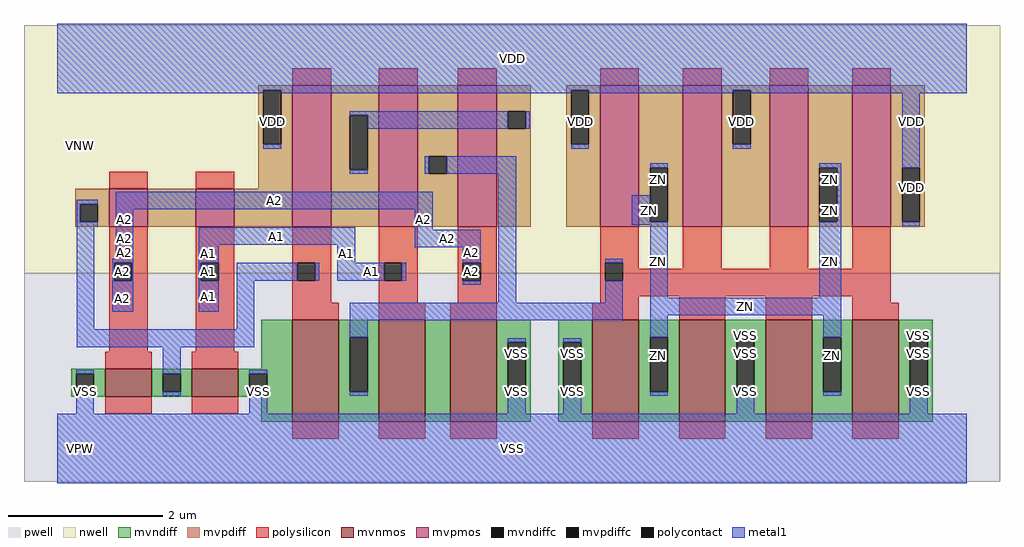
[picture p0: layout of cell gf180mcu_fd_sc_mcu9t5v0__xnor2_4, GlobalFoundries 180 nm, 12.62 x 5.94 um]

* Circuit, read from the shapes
.subckt gf180mcu_fd_sc_mcu9t5v0__xnor2_4 A1 A2 ZN VDD VNW VPW VSS
XM1 n1 A2 VSS VPW nfet_06v0 w=0.36u l=0.6u
XM2 VSS A1 n1 VPW nfet_06v0 w=0.36u l=0.6u
XM3 n2 n1 VSS VPW nfet_06v0 w=1.32u l=0.6u
XM4 n3 A1 n2 VPW nfet_06v0 w=1.32u l=0.6u
XM5 VSS A2 n3 VPW nfet_06v0 w=1.32u l=0.6u
XM6 ZN n2 VSS VPW nfet_06v0 w=1.32u l=0.6u m=4
XM7 n4 A2 n1 VNW pfet_06v0 w=0.495u l=0.5u
XM8 VDD A1 n4 VNW pfet_06v0 w=0.495u l=0.5u
XM9 n5 n1 VDD VNW pfet_06v0 w=1.83u l=0.5u
XM10 n2 A1 n5 VNW pfet_06v0 w=1.83u l=0.5u
XM11 n5 A2 n2 VNW pfet_06v0 w=1.83u l=0.5u
XM12 ZN n2 VDD VNW pfet_06v0 w=1.83u l=0.5u m=4
.ends

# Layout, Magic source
magic
tech gf180mcuD
magscale 1 10
<< nwell >>
rect -86 453 2438 1094
<< pwell >>
rect -86 -86 2438 453
<< mvnmos >>
rect 124 134 244 206
rect 348 134 468 206
rect 608 69 728 333
rect 832 69 952 333
rect 1016 69 1136 333
rect 1384 69 1504 333
rect 1608 69 1728 333
rect 1832 69 1952 333
rect 2056 69 2176 333
<< mvpmos >>
rect 134 573 234 672
rect 358 573 458 672
rect 608 573 708 939
rect 832 573 932 939
rect 1036 573 1136 939
rect 1404 573 1504 939
rect 1618 573 1718 939
rect 1842 573 1942 939
rect 2056 573 2156 939
<< mvndiff >>
rect 528 206 608 333
rect 36 193 124 206
rect 36 147 49 193
rect 95 147 124 193
rect 36 134 124 147
rect 244 193 348 206
rect 244 147 273 193
rect 319 147 348 193
rect 244 134 348 147
rect 468 193 608 206
rect 468 147 497 193
rect 543 147 608 193
rect 468 134 608 147
rect 528 69 608 134
rect 728 287 832 333
rect 728 147 757 287
rect 803 147 832 287
rect 728 69 832 147
rect 952 69 1016 333
rect 1136 274 1224 333
rect 1136 134 1165 274
rect 1211 134 1224 274
rect 1136 69 1224 134
rect 1296 274 1384 333
rect 1296 134 1309 274
rect 1355 134 1384 274
rect 1296 69 1384 134
rect 1504 287 1608 333
rect 1504 147 1533 287
rect 1579 147 1608 287
rect 1504 69 1608 147
rect 1728 287 1832 333
rect 1728 147 1757 287
rect 1803 147 1832 287
rect 1728 69 1832 147
rect 1952 287 2056 333
rect 1952 147 1981 287
rect 2027 147 2056 287
rect 1952 69 2056 147
rect 2176 287 2264 333
rect 2176 147 2205 287
rect 2251 147 2264 287
rect 2176 69 2264 147
<< mvpdiff >>
rect 520 926 608 939
rect 520 786 533 926
rect 579 786 608 926
rect 520 672 608 786
rect 46 632 134 672
rect 46 586 59 632
rect 105 586 134 632
rect 46 573 134 586
rect 234 573 358 672
rect 458 573 608 672
rect 708 861 832 939
rect 708 721 757 861
rect 803 721 832 861
rect 708 573 832 721
rect 932 756 1036 939
rect 932 710 961 756
rect 1007 710 1036 756
rect 932 573 1036 710
rect 1136 872 1224 939
rect 1136 826 1165 872
rect 1211 826 1224 872
rect 1136 573 1224 826
rect 1316 926 1404 939
rect 1316 786 1329 926
rect 1375 786 1404 926
rect 1316 573 1404 786
rect 1504 726 1618 939
rect 1504 586 1533 726
rect 1579 586 1618 726
rect 1504 573 1618 586
rect 1718 926 1842 939
rect 1718 786 1747 926
rect 1793 786 1842 926
rect 1718 573 1842 786
rect 1942 726 2056 939
rect 1942 586 1971 726
rect 2017 586 2056 726
rect 1942 573 2056 586
rect 2156 726 2244 939
rect 2156 586 2185 726
rect 2231 586 2244 726
rect 2156 573 2244 586
<< mvndiffc >>
rect 49 147 95 193
rect 273 147 319 193
rect 497 147 543 193
rect 757 147 803 287
rect 1165 134 1211 274
rect 1309 134 1355 274
rect 1533 147 1579 287
rect 1757 147 1803 287
rect 1981 147 2027 287
rect 2205 147 2251 287
<< mvpdiffc >>
rect 533 786 579 926
rect 59 586 105 632
rect 757 721 803 861
rect 961 710 1007 756
rect 1165 826 1211 872
rect 1329 786 1375 926
rect 1533 586 1579 726
rect 1747 786 1793 926
rect 1971 586 2017 726
rect 2185 586 2231 726
<< polysilicon >>
rect 608 939 708 983
rect 832 939 932 983
rect 1036 939 1136 983
rect 1404 939 1504 983
rect 1618 939 1718 983
rect 1842 939 1942 983
rect 2056 939 2156 983
rect 134 672 234 716
rect 358 672 458 716
rect 134 480 234 573
rect 134 434 147 480
rect 193 434 234 480
rect 134 250 234 434
rect 358 480 458 573
rect 358 434 371 480
rect 417 434 458 480
rect 358 250 458 434
rect 608 480 708 573
rect 608 434 621 480
rect 667 434 708 480
rect 608 377 708 434
rect 832 480 932 573
rect 832 434 845 480
rect 891 434 932 480
rect 832 377 932 434
rect 1036 480 1136 573
rect 1036 434 1049 480
rect 1095 434 1136 480
rect 1036 377 1136 434
rect 1404 480 1504 573
rect 1404 434 1417 480
rect 1463 465 1504 480
rect 1618 465 1718 573
rect 1842 465 1942 573
rect 2056 465 2156 573
rect 1463 434 2156 465
rect 1404 393 2156 434
rect 1404 377 1504 393
rect 608 333 728 377
rect 832 333 952 377
rect 1016 333 1136 377
rect 1384 333 1504 377
rect 1608 333 1728 393
rect 1832 333 1952 393
rect 2056 377 2156 393
rect 2056 333 2176 377
rect 124 206 244 250
rect 348 206 468 250
rect 124 90 244 134
rect 348 90 468 134
rect 608 25 728 69
rect 832 25 952 69
rect 1016 25 1136 69
rect 1384 25 1504 69
rect 1608 25 1728 69
rect 1832 25 1952 69
rect 2056 25 2176 69
<< polycontact >>
rect 147 434 193 480
rect 371 434 417 480
rect 621 434 667 480
rect 845 434 891 480
rect 1049 434 1095 480
rect 1417 434 1463 480
<< metal1 >>
rect 0 926 2352 1098
rect 0 918 533 926
rect 579 918 1329 926
rect 533 775 579 786
rect 757 861 1165 872
rect 803 826 1165 861
rect 1211 826 1222 872
rect 1375 918 1747 926
rect 1329 775 1375 786
rect 1793 918 2352 926
rect 1747 775 1793 786
rect 757 710 803 721
rect 950 710 961 756
rect 1007 710 1187 756
rect 50 632 105 643
rect 50 586 59 632
rect 50 575 105 586
rect 151 618 971 664
rect 50 308 96 575
rect 151 491 197 618
rect 142 480 197 491
rect 142 434 147 480
rect 193 434 197 480
rect 142 354 197 434
rect 366 526 770 572
rect 366 480 418 526
rect 724 480 770 526
rect 925 566 971 618
rect 925 520 1095 566
rect 1049 480 1095 520
rect 366 434 371 480
rect 417 434 418 480
rect 366 354 418 434
rect 464 434 621 480
rect 667 434 678 480
rect 724 434 845 480
rect 891 434 902 480
rect 464 308 510 434
rect 1049 423 1095 434
rect 1141 377 1187 710
rect 1533 726 1579 737
rect 1486 586 1533 654
rect 1486 578 1579 586
rect 1417 480 1463 491
rect 1417 377 1463 434
rect 50 262 510 308
rect 757 331 1463 377
rect 1533 390 1579 578
rect 1971 726 2027 737
rect 2017 586 2027 726
rect 1971 390 2027 586
rect 2185 726 2231 918
rect 2185 575 2231 586
rect 1533 344 2027 390
rect 757 287 803 331
rect 49 193 95 204
rect 49 90 95 147
rect 273 193 319 262
rect 273 136 319 147
rect 497 193 543 204
rect 497 90 543 147
rect 1533 287 1579 344
rect 757 136 803 147
rect 1165 274 1211 285
rect 1165 90 1211 134
rect 1309 274 1355 285
rect 1533 136 1579 147
rect 1757 287 1803 298
rect 1309 90 1355 134
rect 1757 90 1803 147
rect 1981 287 2027 344
rect 1981 136 2027 147
rect 2205 287 2251 298
rect 2205 90 2251 147
rect 0 -90 2352 90
<< labels >>
flabel metal1 s 366 526 770 572 0 FreeSans 200 0 0 0 A1
port 1 nsew default input
flabel metal1 s 151 618 971 664 0 FreeSans 200 0 0 0 A2
port 2 nsew default input
flabel metal1 s 0 918 2352 1098 0 FreeSans 200 0 0 0 VDD
port 4 nsew power bidirectional abutment
flabel metal1 s 2205 285 2251 298 0 FreeSans 200 0 0 0 VSS
port 7 nsew ground bidirectional abutment
flabel metal1 s 1971 654 2027 737 0 FreeSans 200 0 0 0 ZN
port 3 nsew default output
flabel nwell s 10 734 110 834 0 FreeSans 400 0 0 0 VNW
port 5 nsew power bidirectional
flabel pwell s 10 -50 110 50 0 FreeSans 400 0 0 0 VPW
port 6 nsew ground bidirectional
rlabel metal1 s 724 480 770 526 1 A1
port 1 nsew default input
rlabel metal1 s 366 480 418 526 1 A1
port 1 nsew default input
rlabel metal1 s 724 434 902 480 1 A1
port 1 nsew default input
rlabel metal1 s 366 434 418 480 1 A1
port 1 nsew default input
rlabel metal1 s 366 354 418 434 1 A1
port 1 nsew default input
rlabel metal1 s 925 566 971 618 1 A2
port 2 nsew default input
rlabel metal1 s 151 566 197 618 1 A2
port 2 nsew default input
rlabel metal1 s 925 520 1095 566 1 A2
port 2 nsew default input
rlabel metal1 s 151 520 197 566 1 A2
port 2 nsew default input
rlabel metal1 s 1049 491 1095 520 1 A2
port 2 nsew default input
rlabel metal1 s 151 491 197 520 1 A2
port 2 nsew default input
rlabel metal1 s 1049 423 1095 491 1 A2
port 2 nsew default input
rlabel metal1 s 142 423 197 491 1 A2
port 2 nsew default input
rlabel metal1 s 142 354 197 423 1 A2
port 2 nsew default input
rlabel metal1 s 1533 654 1579 737 1 ZN
port 3 nsew default output
rlabel metal1 s 1971 578 2027 654 1 ZN
port 3 nsew default output
rlabel metal1 s 1486 578 1579 654 1 ZN
port 3 nsew default output
rlabel metal1 s 1971 390 2027 578 1 ZN
port 3 nsew default output
rlabel metal1 s 1533 390 1579 578 1 ZN
port 3 nsew default output
rlabel metal1 s 1533 344 2027 390 1 ZN
port 3 nsew default output
rlabel metal1 s 1981 136 2027 344 1 ZN
port 3 nsew default output
rlabel metal1 s 1533 136 1579 344 1 ZN
port 3 nsew default output
rlabel metal1 s 2185 775 2231 918 1 VDD
port 4 nsew power bidirectional abutment
rlabel metal1 s 1747 775 1793 918 1 VDD
port 4 nsew power bidirectional abutment
rlabel metal1 s 1329 775 1375 918 1 VDD
port 4 nsew power bidirectional abutment
rlabel metal1 s 533 775 579 918 1 VDD
port 4 nsew power bidirectional abutment
rlabel metal1 s 2185 575 2231 775 1 VDD
port 4 nsew power bidirectional abutment
rlabel metal1 s 1757 285 1803 298 1 VSS
port 7 nsew ground bidirectional abutment
rlabel metal1 s 2205 204 2251 285 1 VSS
port 7 nsew ground bidirectional abutment
rlabel metal1 s 1757 204 1803 285 1 VSS
port 7 nsew ground bidirectional abutment
rlabel metal1 s 1309 204 1355 285 1 VSS
port 7 nsew ground bidirectional abutment
rlabel metal1 s 1165 204 1211 285 1 VSS
port 7 nsew ground bidirectional abutment
rlabel metal1 s 2205 90 2251 204 1 VSS
port 7 nsew ground bidirectional abutment
rlabel metal1 s 1757 90 1803 204 1 VSS
port 7 nsew ground bidirectional abutment
rlabel metal1 s 1309 90 1355 204 1 VSS
port 7 nsew ground bidirectional abutment
rlabel metal1 s 1165 90 1211 204 1 VSS
port 7 nsew ground bidirectional abutment
rlabel metal1 s 497 90 543 204 1 VSS
port 7 nsew ground bidirectional abutment
rlabel metal1 s 49 90 95 204 1 VSS
port 7 nsew ground bidirectional abutment
rlabel metal1 s 0 -90 2352 90 1 VSS
port 7 nsew ground bidirectional abutment
<< properties >>
string FIXED_BBOX 0 0 2352 1008
string GDS_END 460908
string GDS_FILE $PDKPATH/libs.ref/gf180mcu_fd_sc_mcu9t5v0/gds/gf180mcu_fd_sc_mcu9t5v0.gds
string GDS_START 454856
string LEFclass core
string LEFsite GF018hv5v_green_sc9
string LEFsymmetry X Y
<< end >>
